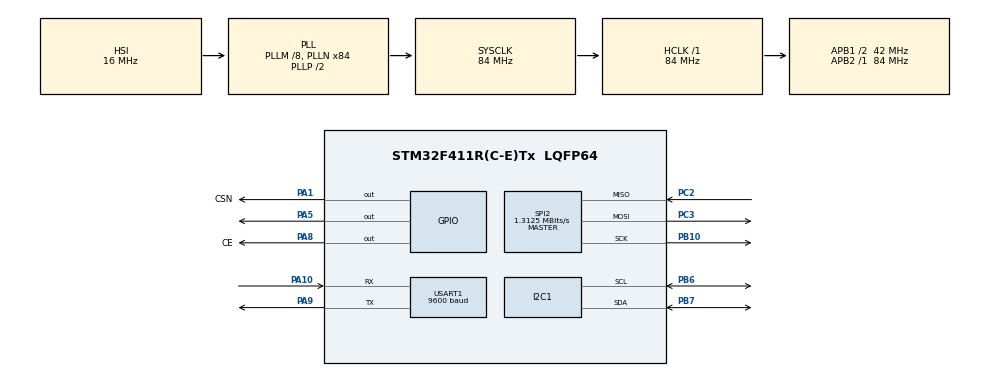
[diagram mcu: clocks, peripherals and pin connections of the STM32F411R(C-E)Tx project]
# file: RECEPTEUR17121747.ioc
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Mcu.Family=STM32F4
Mcu.Name=STM32F411R(C-E)Tx
Mcu.Package=LQFP64
NVIC.PriorityGroup=NVIC_PRIORITYGROUP_2
NVIC.TIM1_UP_TIM10_IRQn=true\:1\:0\:true\:false\:true\:true\:true
NVIC.USART1_IRQn=true\:2\:0\:true\:false\:true\:true\:true
PA1.GPIO_Label=CSN
PA1.Signal=GPIO_Output
PA10.Mode=Asynchronous
PA10.Signal=USART1_RX
PA5.Signal=GPIO_Output
PA8.GPIO_Label=CE
PA8.Signal=GPIO_Output
PA9.Mode=Asynchronous
PA9.Signal=USART1_TX
PB10.Mode=Full_Duplex_Master
PB10.Signal=SPI2_SCK
PB6.Mode=I2C
PB6.Signal=I2C1_SCL
PB7.Mode=I2C
PB7.Signal=I2C1_SDA
PC2.Mode=Full_Duplex_Master
PC2.Signal=SPI2_MISO
PC3.Mode=Full_Duplex_Master
PC3.Signal=SPI2_MOSI
ProjectManager.HeapSize=0x200
ProjectManager.StackSize=0x400
ProjectManager.TargetToolchain=STM32CubeIDE
RCC.48MHZClocksFreq_Value=42000000
RCC.AHBFreq_Value=84000000
RCC.APB1CLKDivider=RCC_HCLK_DIV2
RCC.APB1Freq_Value=42000000
RCC.APB1TimFreq_Value=84000000
RCC.APB2Freq_Value=84000000
RCC.APB2TimFreq_Value=84000000
RCC.CortexFreq_Value=84000000
RCC.HCLKFreq_Value=84000000
RCC.HSE_VALUE=25000000
RCC.HSI_VALUE=16000000
RCC.LSE_VALUE=32768
RCC.PLLM=8
RCC.PLLN=84
RCC.SYSCLKFreq_VALUE=84000000
RCC.SYSCLKSource=RCC_SYSCLKSOURCE_PLLCLK
RCC.VCOOutputFreq_Value=168000000
SPI2.BaudRatePrescaler=SPI_BAUDRATEPRESCALER_32
SPI2.CalculateBaudRate=1.3125 MBits/s
SPI2.Direction=SPI_DIRECTION_2LINES
SPI2.Mode=SPI_MODE_MASTER
SPI2.VirtualType=VM_MASTER
TIM1.Period=50500
TIM1.Prescaler=50000
USART1.BaudRate=9600
USART1.VirtualMode=VM_ASYNC
VP_TIM1_VS_ClockSourceINT.Mode=Internal
board=custom

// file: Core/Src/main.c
/* USER CODE BEGIN Header */
/**
  ******************************************************************************
  * @file           : main.c
  * @brief          : Main program body
  ******************************************************************************
  * @attention
  *
  * <h2><center>&copy; Copyright (c) 2019 STMicroelectronics.
  * All rights reserved.</center></h2>
  *
  * This software component is licensed by ST under BSD 3-Clause license,
  * the "License"; You may not use this file except in compliance with the
  * License. You may obtain a copy of the License at:
  *                        opensource.org/licenses/BSD-3-Clause
  *
  ******************************************************************************
  */
/* USER CODE END Header */

#include "main.h"

/* USER CODE BEGIN Includes */
#include "nrf24l01.h"
#include "stdio.h"
#include "stdbool.h"
/* USER CODE END Includes */

I2C_HandleTypeDef hi2c1;

SPI_HandleTypeDef hspi2;

TIM_HandleTypeDef htim1;

UART_HandleTypeDef huart1;

/* USER CODE BEGIN PV */
// Variables pour le BME680

/* My address */
uint8_t MyAddress[] = {
    0xE7,
    0xE7,
    0xE7,
    0xE7,
    0xE7
};

/* Receiver address */
uint8_t TxAddress[] = {
    0x7E,
    0x7E,
    0x7E,
    0x7E,
    0x7E
};

uint8_t dataOut[32], dataIn[32];
TM_NRF24L01_Transmit_Status_t transmissionStatus;
uint8_t i = 0;

/* USER CODE END PV */

void SystemClock_Config(void);
static void MX_GPIO_Init(void);
static void MX_SPI2_Init(void);
static void MX_I2C1_Init(void);
static void MX_TIM1_Init(void);
static void MX_USART1_UART_Init(void);
/* USER CODE BEGIN PFP */
void initRadioLink(void);
/* USER CODE END PFP */

int main(void)
{

  /* MCU Configuration--------------------------------------------------------*/

  /* Reset of all peripherals, Initializes the Flash interface and the Systick. */
  HAL_Init();

  /* Configure the system clock */
  SystemClock_Config();

  /* Initialize all configured peripherals */
  MX_GPIO_Init();
  MX_SPI2_Init();
  MX_I2C1_Init();
  MX_TIM1_Init();
  MX_USART1_UART_Init();
  /* USER CODE BEGIN 2 */
  initRadioLink();
  /* USER CODE END 2 */

  /* Infinite loop */
  /* USER CODE BEGIN WHILE */
  while (1)
  {

	  if(TM_NRF24L01_DataReady(&hspi2)) {

		  TM_NRF24L01_GetData(&hspi2, dataIn);

	  }

	 /*
	 TM_NRF24L01_Transmit(&hspi2, dataOut);
	 do {
			  transmissionStatus = TM_NRF24L01_GetTransmissionStatus(&hspi2);
		  } while (transmissionStatus == TM_NRF24L01_Transmit_Status_Sending);
	*/

  }
    /* USER CODE END WHILE */

}

void SystemClock_Config(void)
{
  RCC_OscInitTypeDef RCC_OscInitStruct = {0};
  RCC_ClkInitTypeDef RCC_ClkInitStruct = {0};

  /** Configure the main internal regulator output voltage
  */
  __HAL_RCC_PWR_CLK_ENABLE();
  __HAL_PWR_VOLTAGESCALING_CONFIG(PWR_REGULATOR_VOLTAGE_SCALE1);
  /** Initializes the CPU, AHB and APB busses clocks
  */
  RCC_OscInitStruct.OscillatorType = RCC_OSCILLATORTYPE_HSI;
  RCC_OscInitStruct.HSIState = RCC_HSI_ON;
  RCC_OscInitStruct.HSICalibrationValue = RCC_HSICALIBRATION_DEFAULT;
  RCC_OscInitStruct.PLL.PLLState = RCC_PLL_ON;
  RCC_OscInitStruct.PLL.PLLSource = RCC_PLLSOURCE_HSI;
  RCC_OscInitStruct.PLL.PLLM = 8;
  RCC_OscInitStruct.PLL.PLLN = 84;
  RCC_OscInitStruct.PLL.PLLP = RCC_PLLP_DIV2;
  RCC_OscInitStruct.PLL.PLLQ = 4;
  if (HAL_RCC_OscConfig(&RCC_OscInitStruct) != HAL_OK)
  {
    Error_Handler();
  }
  /** Initializes the CPU, AHB and APB busses clocks
  */
  RCC_ClkInitStruct.ClockType = RCC_CLOCKTYPE_HCLK|RCC_CLOCKTYPE_SYSCLK
                              |RCC_CLOCKTYPE_PCLK1|RCC_CLOCKTYPE_PCLK2;
  RCC_ClkInitStruct.SYSCLKSource = RCC_SYSCLKSOURCE_PLLCLK;
  RCC_ClkInitStruct.AHBCLKDivider = RCC_SYSCLK_DIV1;
  RCC_ClkInitStruct.APB1CLKDivider = RCC_HCLK_DIV2;
  RCC_ClkInitStruct.APB2CLKDivider = RCC_HCLK_DIV1;

  if (HAL_RCC_ClockConfig(&RCC_ClkInitStruct, FLASH_LATENCY_2) != HAL_OK)
  {
    Error_Handler();
  }
}

static void MX_I2C1_Init(void)
{

  hi2c1.Instance = I2C1;
  hi2c1.Init.ClockSpeed = 100000;
  hi2c1.Init.DutyCycle = I2C_DUTYCYCLE_2;
  hi2c1.Init.OwnAddress1 = 0;
  hi2c1.Init.AddressingMode = I2C_ADDRESSINGMODE_7BIT;
  hi2c1.Init.DualAddressMode = I2C_DUALADDRESS_DISABLE;
  hi2c1.Init.OwnAddress2 = 0;
  hi2c1.Init.GeneralCallMode = I2C_GENERALCALL_DISABLE;
  hi2c1.Init.NoStretchMode = I2C_NOSTRETCH_DISABLE;
  if (HAL_I2C_Init(&hi2c1) != HAL_OK)
  {
    Error_Handler();
  }

}

static void MX_SPI2_Init(void)
{

  /* SPI2 parameter configuration*/
  hspi2.Instance = SPI2;
  hspi2.Init.Mode = SPI_MODE_MASTER;
  hspi2.Init.Direction = SPI_DIRECTION_2LINES;
  hspi2.Init.DataSize = SPI_DATASIZE_8BIT;
  hspi2.Init.CLKPolarity = SPI_POLARITY_LOW;
  hspi2.Init.CLKPhase = SPI_PHASE_1EDGE;
  hspi2.Init.NSS = SPI_NSS_SOFT;
  hspi2.Init.BaudRatePrescaler = SPI_BAUDRATEPRESCALER_32;
  hspi2.Init.FirstBit = SPI_FIRSTBIT_MSB;
  hspi2.Init.TIMode = SPI_TIMODE_DISABLE;
  hspi2.Init.CRCCalculation = SPI_CRCCALCULATION_DISABLE;
  hspi2.Init.CRCPolynomial = 10;
  if (HAL_SPI_Init(&hspi2) != HAL_OK)
  {
    Error_Handler();
  }

}

static void MX_TIM1_Init(void)
{

  TIM_ClockConfigTypeDef sClockSourceConfig = {0};
  TIM_MasterConfigTypeDef sMasterConfig = {0};

  htim1.Instance = TIM1;
  htim1.Init.Prescaler = 50000;
  htim1.Init.CounterMode = TIM_COUNTERMODE_UP;
  htim1.Init.Period = 50500;
  htim1.Init.ClockDivision = TIM_CLOCKDIVISION_DIV1;
  htim1.Init.RepetitionCounter = 0;
  htim1.Init.AutoReloadPreload = TIM_AUTORELOAD_PRELOAD_DISABLE;
  if (HAL_TIM_Base_Init(&htim1) != HAL_OK)
  {
    Error_Handler();
  }
  sClockSourceConfig.ClockSource = TIM_CLOCKSOURCE_INTERNAL;
  if (HAL_TIM_ConfigClockSource(&htim1, &sClockSourceConfig) != HAL_OK)
  {
    Error_Handler();
  }
  sMasterConfig.MasterOutputTrigger = TIM_TRGO_RESET;
  sMasterConfig.MasterSlaveMode = TIM_MASTERSLAVEMODE_DISABLE;
  if (HAL_TIMEx_MasterConfigSynchronization(&htim1, &sMasterConfig) != HAL_OK)
  {
    Error_Handler();
  }

}

static void MX_USART1_UART_Init(void)
{

  huart1.Instance = USART1;
  huart1.Init.BaudRate = 9600;
  huart1.Init.WordLength = UART_WORDLENGTH_8B;
  huart1.Init.StopBits = UART_STOPBITS_1;
  huart1.Init.Parity = UART_PARITY_NONE;
  huart1.Init.Mode = UART_MODE_TX_RX;
  huart1.Init.HwFlowCtl = UART_HWCONTROL_NONE;
  huart1.Init.OverSampling = UART_OVERSAMPLING_16;
  if (HAL_UART_Init(&huart1) != HAL_OK)
  {
    Error_Handler();
  }

}

static void MX_GPIO_Init(void)
{
  GPIO_InitTypeDef GPIO_InitStruct = {0};

  /* GPIO Ports Clock Enable */
  __HAL_RCC_GPIOC_CLK_ENABLE();
  __HAL_RCC_GPIOA_CLK_ENABLE();
  __HAL_RCC_GPIOB_CLK_ENABLE();

  /*Configure GPIO pin Output Level */
  HAL_GPIO_WritePin(GPIOA, CSN_Pin|GPIO_PIN_5|CE_Pin, GPIO_PIN_RESET);

  /*Configure GPIO pins : CSN_Pin PA5 CE_Pin */
  GPIO_InitStruct.Pin = CSN_Pin|GPIO_PIN_5|CE_Pin;
  GPIO_InitStruct.Mode = GPIO_MODE_OUTPUT_PP;
  GPIO_InitStruct.Pull = GPIO_NOPULL;
  GPIO_InitStruct.Speed = GPIO_SPEED_FREQ_LOW;
  HAL_GPIO_Init(GPIOA, &GPIO_InitStruct);

}

/* USER CODE BEGIN 4 */
void initRadioLink(void) {										// fonction d'initialisation du module radio NRF24L01
    // init of the NRF module :
    TM_NRF24L01_SoftwareReset(&hspi2);							// reset logiciel du module
    TM_NRF24L01_Init(&hspi2, 50, 32);							// param�trage de la bande radio 2.4Ghz + 50Mhz, 32 bit de payload
    TM_NRF24L01_setCrcWidth(&hspi2, 8);							// param�trage du crc : 8 bits
    TM_NRF24L01_disableAutoAcknowledge(&hspi2);					// d�sactivation de l'auto acknowledge
    TM_NRF24L01_SetMyAddress(&hspi2, MyAddress);					// param�trage de l'adresse de r�ception
    TM_NRF24L01_SetTxAddress(&hspi2, TxAddress);					// param�trage de l'adresse de transmission
    TM_NRF24L01_SetChannel(&hspi2, 50);							// param�trage de la bande radio 2.4Ghz + 50Mhz, redondant
    TM_NRF24L01_SetRF(&hspi2, TM_NRF24L01_DataRate_1M, TM_NRF24L01_OutputPower_0dBm);	// param�trage de la vitesse de transmission radio et puissance d'�mission
    TM_NRF24L01_PowerUpRx(&hspi2);								// mise en mode r�ception.( faible consommation dans ce mode )
}

/* USER CODE END 4 */

void Error_Handler(void)
{
}

/************************ (C) COPYRIGHT STMicroelectronics *****END OF FILE****/
